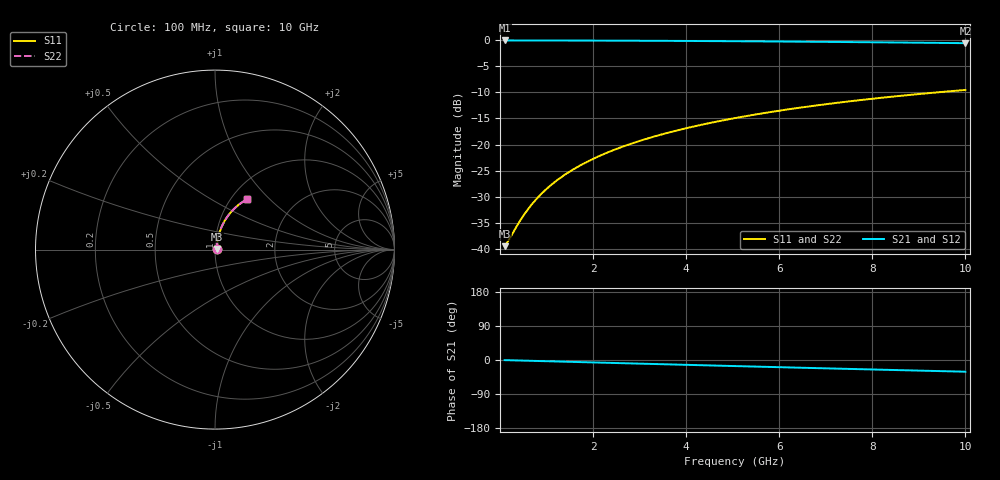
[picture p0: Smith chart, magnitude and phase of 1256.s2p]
# Hz S RI R 50.00
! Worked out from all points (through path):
!   100 points, 100 MHz to 10 GHz, reference 50 ohm
!   highest |S21| = -0.09 dB at 100 MHz (marker M1); lowest = -0.6 dB at 10 GHz (marker M2)
!   group delay of S21, straight-line fit = 8.6 ps
!   lowest |S11| = -39.4 dB at 100 MHz (marker M3), VSWR 1.02, Z = 51 + j0.365 ohm
!   |S11| at or under -10 dB: start of sweep to 9.405 GHz
!   |S22| runs from -39.4 to -9.5 dB; largest |S21 - S12| = 0
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1e8  0.0101 0.00358  0.9899 -0.00554  0.9899 -0.00554  0.0101 0.00358
2e8  0.0102 0.00715  0.9898 -0.0111  0.9898 -0.0111  0.0102 0.00715
4e8  0.0106 0.0143  0.9894 -0.0221  0.9894 -0.0221  0.0106 0.0143
5e8  0.0108 0.0179  0.9892 -0.0277  0.9892 -0.0277  0.0108 0.0179
6e8  0.011 0.0214  0.9889 -0.0332  0.9889 -0.0332  0.011 0.0214
7e8  0.0113 0.025  0.9886 -0.0387  0.9886 -0.0387  0.0113 0.025
8e8  0.0116 0.0285  0.9882 -0.0443  0.9882 -0.0443  0.0116 0.0285
1e9  0.0124 0.0356  0.9874 -0.0553  0.9874 -0.0553  0.0124 0.0356
1.2e9  0.0133 0.0427  0.9864 -0.0663  0.9864 -0.0663  0.0133 0.0427
1.5e9  0.015 0.0533  0.9846 -0.0827  0.9846 -0.0827  0.015 0.0533
1.8e9  0.017 0.0638  0.9824 -0.0991  0.9824 -0.0991  0.017 0.0638
2.1e9  0.0193 0.0742  0.9798 -0.1154  0.9798 -0.1154  0.0193 0.0742
2.5e9  0.023 0.0879  0.9758 -0.137  0.9758 -0.137  0.023 0.0879
2.9e9  0.0272 0.1014  0.9711 -0.1584  0.9711 -0.1584  0.0272 0.1014
3.4e9  0.0334 0.1179  0.9643 -0.1848  0.9643 -0.1848  0.0334 0.1179
4.2e9  0.045 0.1435  0.9515 -0.2261  0.9515 -0.2261  0.045 0.1435
5.1e9  0.0605 0.1707  0.9343 -0.2711  0.9343 -0.2711  0.0605 0.1707
5.9e9  0.0763 0.1932  0.9168 -0.3095  0.9168 -0.3095  0.0763 0.1932
6.7e9  0.0938 0.2141  0.8972 -0.3463  0.8972 -0.3463  0.0938 0.2141
7.5e9  0.1128 0.2332  0.8759 -0.3813  0.8759 -0.3813  0.1128 0.2332
8.4e9  0.1357 0.2525  0.8502 -0.4185  0.8502 -0.4185  0.1357 0.2525
1e10  0.1795 0.2806  0.8004 -0.4787  0.8004 -0.4787  0.1795 0.2806
